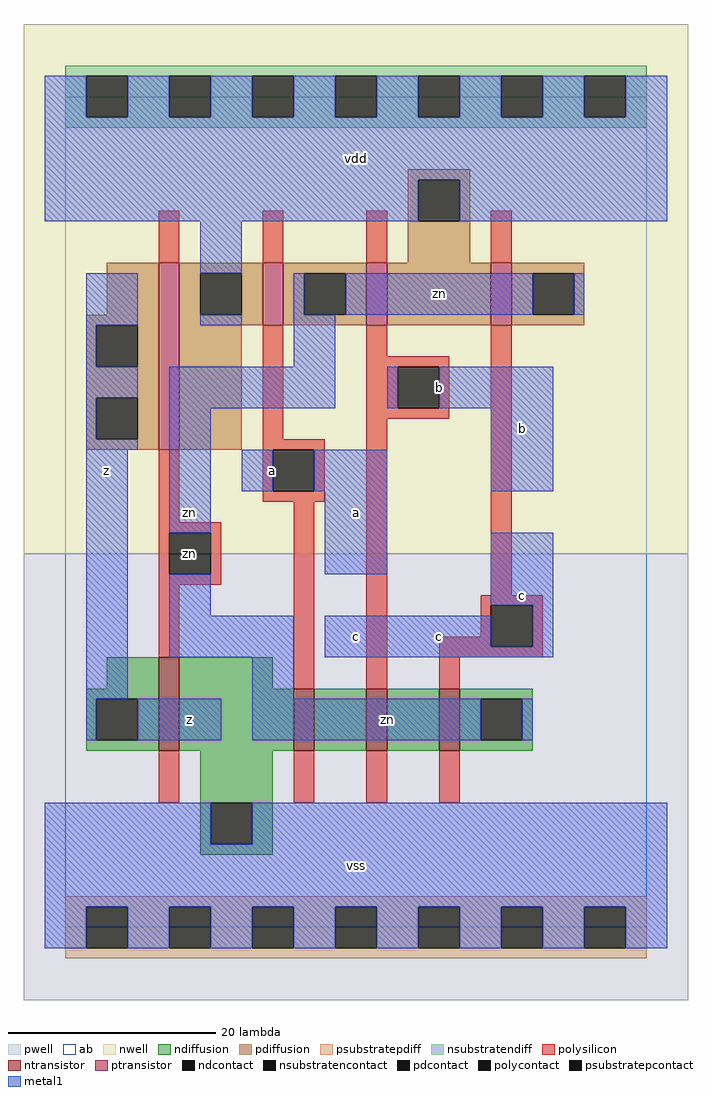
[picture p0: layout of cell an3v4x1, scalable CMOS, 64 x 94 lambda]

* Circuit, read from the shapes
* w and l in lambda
.subckt an3v4x1 a b c vdd vss z zn
M1 vss zn z vss nfet w=9 l=2
M2 n1 a vss vss nfet w=6 l=2
M3 n2 b n1 vss nfet w=6 l=2
M4 zn c n2 vss nfet w=6 l=2
M5 vdd zn z vdd pfet w=18 l=2
M6 zn a vdd vdd pfet w=6 l=2
M7 vdd b zn vdd pfet w=6 l=2
M8 zn c vdd vdd pfet w=6 l=2
.ends

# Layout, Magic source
magic
tech scmos
<< ab >>
rect 0 0 56 80
<< pwell >>
rect -4 -7 60 36
<< nwell >>
rect -4 36 60 87
<< polysilicon >>
rect 9 64 11 69
rect 19 64 21 69
rect 29 64 31 69
rect 41 64 43 69
rect 19 47 21 58
rect 29 55 31 58
rect 29 54 37 55
rect 29 50 32 54
rect 36 50 37 54
rect 29 49 37 50
rect 19 46 25 47
rect 9 39 11 46
rect 19 42 20 46
rect 24 42 25 46
rect 19 41 25 42
rect 9 38 15 39
rect 9 34 10 38
rect 14 34 15 38
rect 9 33 15 34
rect 9 26 11 33
rect 22 23 24 41
rect 29 23 31 49
rect 41 32 43 58
rect 40 31 46 32
rect 40 28 41 31
rect 36 27 41 28
rect 45 27 46 31
rect 36 26 46 27
rect 36 23 38 26
rect 9 12 11 17
rect 22 12 24 17
rect 29 12 31 17
rect 36 12 38 17
<< ndiffusion >>
rect 4 23 9 26
rect 2 22 9 23
rect 2 18 3 22
rect 7 18 9 22
rect 2 17 9 18
rect 11 23 20 26
rect 11 17 22 23
rect 24 17 29 23
rect 31 17 36 23
rect 38 22 45 23
rect 38 18 40 22
rect 44 18 45 22
rect 38 17 45 18
rect 13 12 20 17
rect 13 8 14 12
rect 18 8 20 12
rect 13 7 20 8
<< pdiffusion >>
rect 33 72 39 73
rect 33 68 34 72
rect 38 68 39 72
rect 33 64 39 68
rect 4 59 9 64
rect 2 58 9 59
rect 2 54 3 58
rect 7 54 9 58
rect 2 51 9 54
rect 2 47 3 51
rect 7 47 9 51
rect 2 46 9 47
rect 11 63 19 64
rect 11 59 13 63
rect 17 59 19 63
rect 11 58 19 59
rect 21 63 29 64
rect 21 59 23 63
rect 27 59 29 63
rect 21 58 29 59
rect 31 58 41 64
rect 43 63 50 64
rect 43 59 45 63
rect 49 59 50 63
rect 43 58 50 59
rect 11 46 17 58
<< metal1 >>
rect -2 78 2 82
rect 6 78 10 82
rect 14 78 18 82
rect 22 78 26 82
rect 30 78 34 82
rect 38 78 42 82
rect 46 78 50 82
rect 54 78 58 82
rect -2 72 58 78
rect -2 68 34 72
rect 38 68 58 72
rect 13 63 17 68
rect 2 58 7 63
rect 13 58 17 59
rect 22 59 23 63
rect 27 59 45 63
rect 49 59 50 63
rect 2 54 3 58
rect 22 54 26 59
rect 2 51 7 54
rect 2 47 3 51
rect 2 46 7 47
rect 10 50 26 54
rect 31 50 32 54
rect 36 50 47 54
rect 2 22 6 46
rect 10 38 14 50
rect 17 42 20 46
rect 24 42 31 46
rect 41 42 47 50
rect 25 34 31 42
rect 10 30 14 34
rect 41 31 47 38
rect 10 26 22 30
rect 25 27 41 30
rect 45 27 47 31
rect 25 26 47 27
rect 18 22 22 26
rect 2 18 3 22
rect 7 18 15 22
rect 18 18 40 22
rect 44 18 45 22
rect -2 8 14 12
rect 18 8 58 12
rect -2 2 58 8
rect -2 -2 2 2
rect 6 -2 10 2
rect 14 -2 18 2
rect 22 -2 26 2
rect 30 -2 34 2
rect 38 -2 42 2
rect 46 -2 50 2
rect 54 -2 58 2
<< ntransistor >>
rect 9 17 11 26
rect 22 17 24 23
rect 29 17 31 23
rect 36 17 38 23
<< ptransistor >>
rect 9 46 11 64
rect 19 58 21 64
rect 29 58 31 64
rect 41 58 43 64
<< polycontact >>
rect 32 50 36 54
rect 20 42 24 46
rect 10 34 14 38
rect 41 27 45 31
<< ndcontact >>
rect 3 18 7 22
rect 40 18 44 22
rect 14 8 18 12
<< pdcontact >>
rect 34 68 38 72
rect 3 54 7 58
rect 3 47 7 51
rect 13 59 17 63
rect 23 59 27 63
rect 45 59 49 63
<< psubstratepcontact >>
rect 2 -2 6 2
rect 10 -2 14 2
rect 18 -2 22 2
rect 26 -2 30 2
rect 34 -2 38 2
rect 42 -2 46 2
rect 50 -2 54 2
<< nsubstratencontact >>
rect 2 78 6 82
rect 10 78 14 82
rect 18 78 22 82
rect 26 78 30 82
rect 34 78 38 82
rect 42 78 46 82
rect 50 78 54 82
<< psubstratepdiff >>
rect 0 2 56 3
rect 0 -2 2 2
rect 6 -2 10 2
rect 14 -2 18 2
rect 22 -2 26 2
rect 30 -2 34 2
rect 38 -2 42 2
rect 46 -2 50 2
rect 54 -2 56 2
rect 0 -3 56 -2
<< nsubstratendiff >>
rect 0 82 56 83
rect 0 78 2 82
rect 6 78 10 82
rect 14 78 18 82
rect 22 78 26 82
rect 30 78 34 82
rect 38 78 42 82
rect 46 78 50 82
rect 54 78 56 82
rect 0 77 56 78
<< labels >>
rlabel polycontact 12 36 12 36 6 zn
rlabel metal1 4 44 4 44 6 z
rlabel metal1 12 20 12 20 6 z
rlabel metal1 20 44 20 44 6 a
rlabel metal1 12 40 12 40 6 zn
rlabel metal1 28 6 28 6 6 vss
rlabel metal1 28 28 28 28 6 c
rlabel metal1 36 28 36 28 6 c
rlabel metal1 28 40 28 40 6 a
rlabel metal1 36 52 36 52 6 b
rlabel metal1 28 74 28 74 6 vdd
rlabel metal1 31 20 31 20 6 zn
rlabel metal1 44 32 44 32 6 c
rlabel metal1 44 48 44 48 6 b
rlabel metal1 36 61 36 61 6 zn
<< end >>
